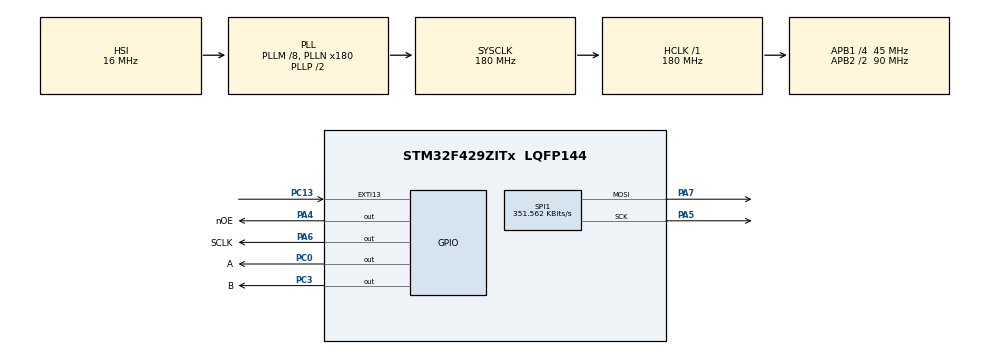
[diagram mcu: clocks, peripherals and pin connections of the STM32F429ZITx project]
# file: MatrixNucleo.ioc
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Mcu.Family=STM32F4
Mcu.Name=STM32F429ZITx
Mcu.Package=LQFP144
NVIC.EXTI15_10_IRQn=true\:0\:0\:false\:false\:true\:true\:true\:true
NVIC.PriorityGroup=NVIC_PRIORITYGROUP_4
NVIC.TIM2_IRQn=true\:0\:0\:false\:false\:true\:true\:true\:true
PA13.Mode=Serial_Wire
PA13.Signal=SYS_JTMS-SWDIO
PA14.Mode=Serial_Wire
PA14.Signal=SYS_JTCK-SWCLK
PA4.GPIO_Label=nOE
PA4.Signal=GPIO_Output
PA5.Mode=TX_Only_Simplex_Unidirect_Master
PA5.Signal=SPI1_SCK
PA6.GPIO_Label=SCLK
PA6.Signal=GPIO_Output
PA7.Mode=TX_Only_Simplex_Unidirect_Master
PA7.Signal=SPI1_MOSI
PC0.GPIO_Label=A
PC0.GPIO_Speed=GPIO_SPEED_FREQ_VERY_HIGH
PC0.Signal=GPIO_Output
PC13.GPIO_ModeDefaultEXTI=GPIO_MODE_IT_RISING_FALLING
PC13.GPIO_PuPd=GPIO_NOPULL
PC13.Signal=GPXTI13
PC3.GPIO_Label=B
PC3.GPIO_Speed=GPIO_SPEED_FREQ_VERY_HIGH
PC3.Signal=GPIO_Output
PH0/OSC_IN.Mode=HSE-External-Oscillator
PH0/OSC_IN.Signal=RCC_OSC_IN
PH1/OSC_OUT.Mode=HSE-External-Oscillator
PH1/OSC_OUT.Signal=RCC_OSC_OUT
ProjectManager.HeapSize=0x200
ProjectManager.StackSize=0x400
ProjectManager.TargetToolchain=STM32CubeIDE
RCC.48MHZClocksFreq_Value=90000000
RCC.AHBFreq_Value=180000000
RCC.APB1CLKDivider=RCC_HCLK_DIV4
RCC.APB1Freq_Value=45000000
RCC.APB1TimFreq_Value=90000000
RCC.APB2CLKDivider=RCC_HCLK_DIV2
RCC.APB2Freq_Value=90000000
RCC.APB2TimFreq_Value=180000000
RCC.CortexFreq_Value=180000000
RCC.HCLKFreq_Value=180000000
RCC.HSE_VALUE=25000000
RCC.HSI_VALUE=16000000
RCC.LSE_VALUE=32768
RCC.PLLM=8
RCC.PLLN=180
RCC.SYSCLKFreq_VALUE=180000000
RCC.SYSCLKSource=RCC_SYSCLKSOURCE_PLLCLK
RCC.VCOOutputFreq_Value=360000000
SPI1.BaudRatePrescaler=SPI_BAUDRATEPRESCALER_256
SPI1.CalculateBaudRate=351.562 KBits/s
SPI1.Direction=SPI_DIRECTION_2LINES
SPI1.Mode=SPI_MODE_MASTER
SPI1.VirtualType=VM_MASTER
TIM2.Period=2000-1
TIM2.Prescaler=180-1
VP_TIM2_VS_ClockSourceINT.Mode=Internal
board=custom

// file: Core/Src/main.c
/* USER CODE BEGIN Header */
/**
 ******************************************************************************
 * @file           : main.c
 * @brief          : Main program body
 ******************************************************************************
 * @attention
 *
 * Copyright (c) 2023 STMicroelectronics.
 * All rights reserved.
 *
 * This software is licensed under terms that can be found in the LICENSE file
 * in the root directory of this software component.
 * If no LICENSE file comes with this software, it is provided AS-IS.
 *
 ******************************************************************************
 */
/* USER CODE END Header */
#include "main.h"
#include "spi.h"
#include "tim.h"
#include "gpio.h"

/* USER CODE BEGIN Includes */
#include "string.h"
#include "disp1color.h"
#include "font.h"
#include "f6x8m.h"
#include "morse.h"
/* USER CODE END Includes */

/* USER CODE BEGIN PM */
#define TIME_REF 500
#define DEBOUNCE 3

/* USER CODE END PM */

/* USER CODE BEGIN PV */
int16_t X = 32;
uint16_t Period = 70;
uint16_t TickNum = 1; //150
uint8_t data1[16], data2[16], data3[16], data4[16];
uint16_t strSize;

char CurrentCode[50];
char Text[50];
char *letter;

extern volatile uint16_t Flag;

uint16_t IsNewLetter = 1;
uint16_t IsNewWord = 1;

uint32_t clicktime;
extern volatile uint32_t HighTime;
extern volatile uint32_t LowTime;
extern volatile uint64_t TimeStamp;

uint16_t trash;

void disp_row(int row) {
	if (row == 0) {
		HAL_SPI_Transmit(&hspi1, data1, 16, 10);
		while (HAL_SPI_GetState(&hspi1) != HAL_SPI_STATE_READY) {
		}

		HAL_GPIO_WritePin(SCLK_GPIO_Port, SCLK_Pin, GPIO_PIN_RESET);
		HAL_GPIO_WritePin(SCLK_GPIO_Port, SCLK_Pin, GPIO_PIN_SET);

		HAL_GPIO_WritePin(A_GPIO_Port, A_Pin, GPIO_PIN_RESET);
		HAL_GPIO_WritePin(B_GPIO_Port, B_Pin, GPIO_PIN_RESET);
	}
	if (row == 1) {
		HAL_SPI_Transmit(&hspi1, data2, 16, 10);
		while (HAL_SPI_GetState(&hspi1) != HAL_SPI_STATE_READY) {
		}

		HAL_GPIO_WritePin(SCLK_GPIO_Port, SCLK_Pin, GPIO_PIN_RESET);
		HAL_GPIO_WritePin(SCLK_GPIO_Port, SCLK_Pin, GPIO_PIN_SET);

		HAL_GPIO_WritePin(A_GPIO_Port, A_Pin, GPIO_PIN_SET);
		HAL_GPIO_WritePin(B_GPIO_Port, B_Pin, GPIO_PIN_RESET);
	}

	if (row == 2) {
		HAL_SPI_Transmit(&hspi1, data3, 16, 10);
		while (HAL_SPI_GetState(&hspi1) != HAL_SPI_STATE_READY) {
		}

		HAL_GPIO_WritePin(SCLK_GPIO_Port, SCLK_Pin, GPIO_PIN_RESET);
		HAL_GPIO_WritePin(SCLK_GPIO_Port, SCLK_Pin, GPIO_PIN_SET);

		HAL_GPIO_WritePin(A_GPIO_Port, A_Pin, GPIO_PIN_RESET);
		HAL_GPIO_WritePin(B_GPIO_Port, B_Pin, GPIO_PIN_SET);
	}

	if (row == 3) {
		HAL_SPI_Transmit(&hspi1, data4, 16, 10);
		while (HAL_SPI_GetState(&hspi1) != HAL_SPI_STATE_READY) {
		}

		HAL_GPIO_WritePin(SCLK_GPIO_Port, SCLK_Pin, GPIO_PIN_RESET);
		HAL_GPIO_WritePin(SCLK_GPIO_Port, SCLK_Pin, GPIO_PIN_SET);
		HAL_GPIO_WritePin(A_GPIO_Port, A_Pin, GPIO_PIN_SET);
		HAL_GPIO_WritePin(B_GPIO_Port, B_Pin, GPIO_PIN_SET);
	}
	HAL_GPIO_WritePin(nOE_GPIO_Port, nOE_Pin, GPIO_PIN_SET);
//	for (uint32_t x = 0; x <= 3000; x++) {
//	};
//	HAL_GPIO_WritePin(nOE_GPIO_Port, nOE_Pin, GPIO_PIN_RESET);

//	HAL_GPIO_WritePin(nOE_GPIO_Port, nOE_Pin, GPIO_PIN_RESET);
}

/* USER CODE END PV */

void SystemClock_Config(void);

int main(void)
{

  /* MCU Configuration--------------------------------------------------------*/

  /* Reset of all peripherals, Initializes the Flash interface and the Systick. */
  HAL_Init();

  /* Configure the system clock */
  SystemClock_Config();

  /* Initialize all configured peripherals */
  MX_GPIO_Init();
  MX_SPI1_Init();
  MX_TIM2_Init();
  /* USER CODE BEGIN 2 */
	HAL_TIM_Base_Start_IT(&htim2);
	HAL_GPIO_WritePin(nOE_GPIO_Port, nOE_Pin, GPIO_PIN_RESET);
	char pMyStr[] = { 0xCF, 0xF0, 0xE8, 0xE2, 0xE5, 0xF2 };  //Строка на вывод

	uint8_t symbolDelay = 2;

  /* USER CODE END 2 */
абы
  /* Infinite loop */
  /* USER CODE BEGIN WHILE */

	while (1) {
		if (Flag) {
			if (HighTime >= 5 * TIME_REF) {
				memset(CurrentCode, 0, strlen(CurrentCode));
				if (HighTime >= 7 * TIME_REF) {
					memset(Text, 0, strlen(Text));
					IsNewWord = 1;
				}
			}
		} else {
			if (!IsNewLetter) {
				if ((LowTime > 3 * TIME_REF) && (clicktime < 7 * TIME_REF)) {
					letter = codeToLetter(CurrentCode);
					strcat(Text, letter);
					memset(CurrentCode, 0, strlen(CurrentCode));
					IsNewLetter = 1;
				}
			}
			if (IsNewLetter && !IsNewWord && (LowTime >= 7 * TIME_REF)) {
				memset(CurrentCode, 0, strlen(CurrentCode));
				strcat(Text, space);
				IsNewWord = 1;
			}
		}

		disp1color_FillScreenbuff(0);
		disp1color_printf(2, 4, FONTID_6X8M, Text); //Расчет данных для вывода
		disp1color_UpdateFromBuff(); //Перевод рассчитанных данных в массив
		prepare_data(); //Разбиение массива на массивы под каждую строку

		disp_row(0);
		disp_row(1);
		disp_row(2);
		disp_row(3);

    /* USER CODE END WHILE */

	}
}

void SystemClock_Config(void)
{
  RCC_OscInitTypeDef RCC_OscInitStruct = {0};
  RCC_ClkInitTypeDef RCC_ClkInitStruct = {0};

  /** Configure the main internal regulator output voltage
  */
  __HAL_RCC_PWR_CLK_ENABLE();
  __HAL_PWR_VOLTAGESCALING_CONFIG(PWR_REGULATOR_VOLTAGE_SCALE1);

  /** Initializes the RCC Oscillators according to the specified parameters
  * in the RCC_OscInitTypeDef structure.
  */
  RCC_OscInitStruct.OscillatorType = RCC_OSCILLATORTYPE_HSI;
  RCC_OscInitStruct.HSIState = RCC_HSI_ON;
  RCC_OscInitStruct.HSICalibrationValue = RCC_HSICALIBRATION_DEFAULT;
  RCC_OscInitStruct.PLL.PLLState = RCC_PLL_ON;
  RCC_OscInitStruct.PLL.PLLSource = RCC_PLLSOURCE_HSI;
  RCC_OscInitStruct.PLL.PLLM = 8;
  RCC_OscInitStruct.PLL.PLLN = 180;
  RCC_OscInitStruct.PLL.PLLP = RCC_PLLP_DIV2;
  RCC_OscInitStruct.PLL.PLLQ = 4;
  if (HAL_RCC_OscConfig(&RCC_OscInitStruct) != HAL_OK)
  {
    Error_Handler();
  }

  /** Activate the Over-Drive mode
  */
  if (HAL_PWREx_EnableOverDrive() != HAL_OK)
  {
    Error_Handler();
  }

  /** Initializes the CPU, AHB and APB buses clocks
  */
  RCC_ClkInitStruct.ClockType = RCC_CLOCKTYPE_HCLK|RCC_CLOCKTYPE_SYSCLK
                              |RCC_CLOCKTYPE_PCLK1|RCC_CLOCKTYPE_PCLK2;
  RCC_ClkInitStruct.SYSCLKSource = RCC_SYSCLKSOURCE_PLLCLK;
  RCC_ClkInitStruct.AHBCLKDivider = RCC_SYSCLK_DIV1;
  RCC_ClkInitStruct.APB1CLKDivider = RCC_HCLK_DIV4;
  RCC_ClkInitStruct.APB2CLKDivider = RCC_HCLK_DIV2;

  if (HAL_RCC_ClockConfig(&RCC_ClkInitStruct, FLASH_LATENCY_5) != HAL_OK)
  {
    Error_Handler();
  }
}

/* USER CODE BEGIN 4 */
void HAL_GPIO_EXTI_Callback(uint16_t GPIO_Pin) { //EXTI interrupt callback
	if (GPIO_Pin == GPIO_PIN_13) { // check interrupt for specific pin
		clicktime = HAL_GetTick() - TimeStamp;

		if (HAL_GPIO_ReadPin(GPIOC, GPIO_PIN_13)) { //check pin state
			Flag = 1; // Pin is pulled up, so state is reversed
		}

		if (!HAL_GPIO_ReadPin(GPIOC, GPIO_PIN_13)) {
			Flag = 0;
		}

		IsNewWord = 0;
		IsNewLetter = 0;
		if (!Flag) {
			LowTime = 0;
			if ((clicktime >= DEBOUNCE) && (clicktime <= TIME_REF)) {
				strcat(CurrentCode, dot);
			} else if ((clicktime >= TIME_REF) && (clicktime <= 3 * TIME_REF)) {
				strcat(CurrentCode, dash);

			}
		}
		TimeStamp = HAL_GetTick();
	}
}
/* USER CODE END 4 */

void Error_Handler(void)
{
	__disable_irq();
	while (1) {
	}
}
